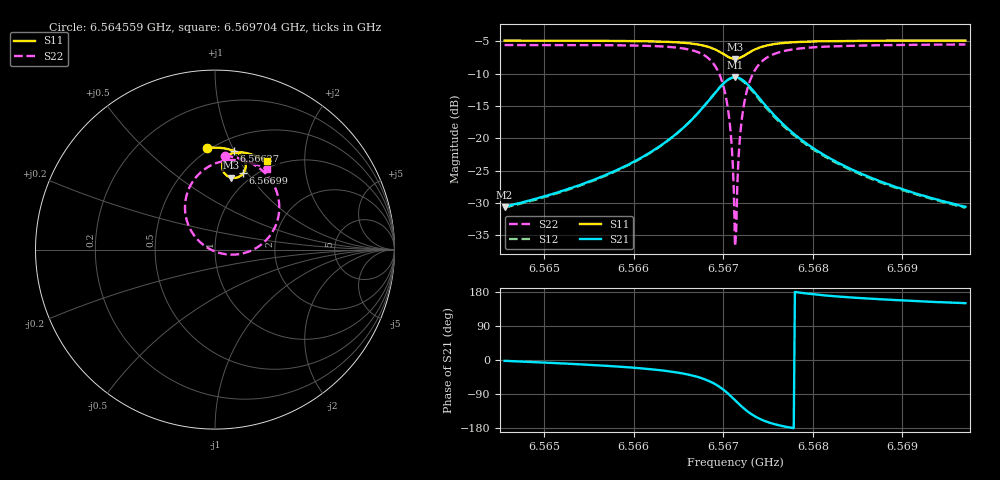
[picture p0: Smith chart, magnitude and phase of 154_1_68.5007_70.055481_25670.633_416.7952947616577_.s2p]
#  HZ  S  RI  R  50.00
! Rohde & Schwarz Vector Network Analyzer
! Rohde-Schwarz,ZNB20-2Port,1311601062101988,3.16
! Created: UTC 3/20/2024, 5:10:38 PM
! freq[Hz]  re:S11  im:S11  re:S21  im:S21  re:S12  im:S12  re:S22  im:S22
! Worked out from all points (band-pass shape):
!   401 points, 6.564559 GHz to 6.569704 GHz, reference 50 ohm
!   highest |S21| = -10.55 dB at 6.567132 GHz (marker M1); lowest = -30.6 dB at 6.564559 GHz (marker M2)
!   |S21| within 3 dB of the highest: 6.566876 GHz to 6.56739 GHz (513.6 kHz wide, 0.00782 % of centre)
!   lowest |S11| = -7.7 dB at 6.567132 GHz (marker M3), VSWR 2.39, Z = 42.1 + j40.6 ohm
!   |S11| at or under -10 dB: nowhere
!   |S22| runs from -36.7 to -5.5 dB; largest |S21 - S12| = 0.014
!   S11 on the Smith chart (normalised r, x): 6.564559 GHz: 0.48, +0.80; 6.56627 GHz: 0.62, +1.00; 6.56699 GHz: 0.89, +0.96; 6.569704 GHz: 0.90, +1.31
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6.5645594e9  -0.0473 0.5671  0.0295 -0.00114  0.0291 -0.0016  0.0533 0.5233
6.5654211e9  0.024 0.5673  0.0432 -0.00882  0.0425 -0.0096  0.1372 0.5076
6.56627e9  0.1056 0.5497  0.076 -0.0376  0.0749 -0.0385  0.2553 0.4473
6.5662829e9  0.1071 0.5491  0.0769 -0.0385  0.0759 -0.0395  0.2576 0.4455
6.5665787e9  0.1424 0.5273  0.1001 -0.0752  0.0984 -0.0767  0.32 0.3733
6.5667845e9  0.1665 0.4928  0.1132 -0.1355  0.1106 -0.1381  0.3574 0.2573
6.5669003e9  0.1708 0.4586  0.1021 -0.1951  0.0969 -0.199  0.3418 0.143
6.5669903e9  0.1575 0.4253  0.0619 -0.2522  0.0531 -0.2553  0.2683 0.0367
6.5670289e9  0.1444 0.4122  0.0311 -0.2736  0.0204 -0.2752  0.2113 -0.00131
6.5670675e9  0.1267 0.4028  -0.00769 -0.2877  -0.0201 -0.2871  0.1397 -0.0244
6.5670932e9  0.1128 0.3995  -0.0368 -0.2912  -0.0498 -0.2884  0.0869 -0.0282
6.5671189e9  0.0984 0.3995  -0.0672 -0.2888  -0.08 -0.2838  0.033 -0.0209
6.5671318e9  0.0912 0.4006  -0.082 -0.2853  -0.0948 -0.279  0.00679 -0.013
6.5671575e9  0.0772 0.4055  -0.1105 -0.2742  -0.122 -0.2658  -0.0421 0.0104
6.5671832e9  0.065 0.413  -0.1357 -0.258  -0.1456 -0.2477  -0.084 0.0425
6.5672218e9  0.0509 0.4281  -0.165 -0.2269  -0.1723 -0.2151  -0.1309 0.101
6.5672733e9  0.0412 0.4512  -0.1875 -0.181  -0.1906 -0.169  -0.1624 0.1841
6.5673376e9  0.0409 0.4782  -0.1933 -0.1287  -0.1931 -0.118  -0.1639 0.2762
6.5675691e9  0.0789 0.5294  -0.1481 -0.0285  -0.1448 -0.024  -0.0623 0.4446
6.5679935e9  0.1422 0.5422  -0.0845 0.00919  -0.0825 0.0105  0.0788 0.4982
6.5688553e9  0.2248 0.5228  -0.041 0.0157  -0.04 0.016  0.21 0.4819
6.5697042e9  0.2883 0.4925  -0.0256 0.0148  -0.025 0.015  0.2869 0.4474
